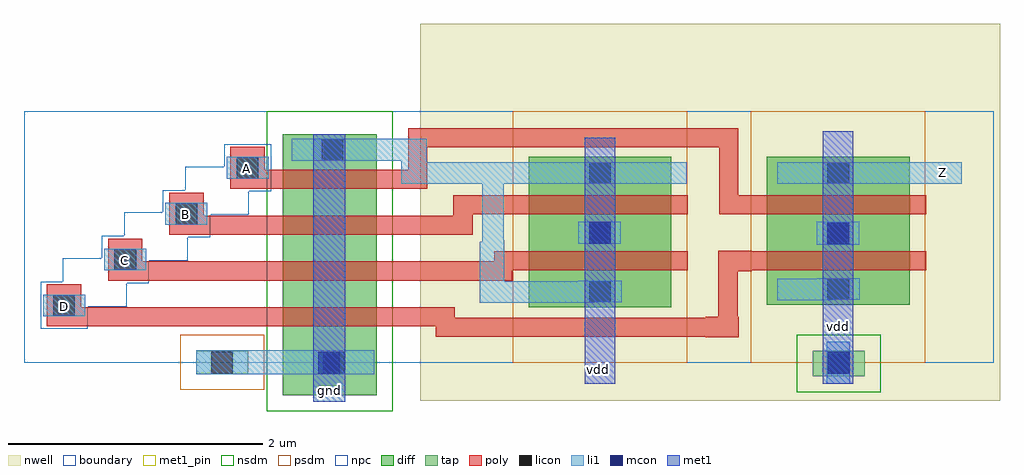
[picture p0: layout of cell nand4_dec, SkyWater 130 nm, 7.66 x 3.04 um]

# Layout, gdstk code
import gdstk
lib = gdstk.Library(unit=1e-6, precision=1e-09)
def R(c, l, rs):  # rectangles x0, y0, x1, y1
    for r in rs: c.add(gdstk.rectangle(r[:2], r[2:], *l))
nwell = (64, 20)
diff = (65, 20)
tap = (65, 44)
poly = (66, 20)
licon = (66, 44)
li1 = (67, 20)
mcon = (67, 44)
met1_pin = (68, 16)
met1 = (68, 20)
nsdm = (93, 44)
psdm = (94, 20)
npc = (95, 20)
boundary = (235, 4)

nand4_dec = lib.new_cell('nand4_dec')
R(nand4_dec, nwell, [(3.11,-0.3,7.66,2.66)])
R(nand4_dec, diff, [(2.03,-0.255,2.77,1.795), (3.96,0.435,5.08,1.615), (5.83,0.455,6.95,1.615)])
R(nand4_dec, tap, [(6.19,-0.105,6.6,0.095), (1.35,-0.085,1.76,0.095)])
R(nand4_dec, poly, [(5.35,0.2,5.61,0.205), (3.23,0.205,5.61,0.285), (0.18,0.285,5.61,0.355), (0.18,0.355,3.38,0.435), (5.35,0.355,5.61,0.36), (5.45,0.36,5.6,0.72), (0.18,0.435,0.45,0.615), (0.66,0.645,3.83,0.725), (5.45,0.72,5.71,0.725), (0.66,0.725,5.21,0.795), (5.45,0.725,7.08,0.875), (0.66,0.795,0.93,0.975), (3.69,0.795,5.21,0.875), (5.45,0.875,5.71,0.88), (1.14,1.005,3.52,1.155), (1.14,1.155,1.41,1.335), (3.37,1.155,3.52,1.165), (3.37,1.165,5.21,1.315), (5.46,1.165,7.08,1.17), (5.455,1.17,7.08,1.315), (5.455,1.315,5.605,1.69), (1.62,1.365,3.165,1.515), (1.62,1.515,1.89,1.695), (3.015,1.515,3.165,1.69), (3.015,1.69,5.605,1.84)])
R(nand4_dec, licon, [(1.47,-0.085,1.64,0.085), (2.345,-0.085,2.515,0.085), (6.31,-0.085,6.48,0.085), (0.23,0.365,0.4,0.535), (4.435,0.475,4.605,0.645), (6.305,0.495,6.475,0.665), (0.71,0.725,0.88,0.895), (6.305,0.93,6.475,1.1), (4.435,0.935,4.605,1.105), (1.19,1.085,1.36,1.255), (4.435,1.405,4.605,1.575), (6.305,1.405,6.475,1.575), (1.67,1.445,1.84,1.615), (2.335,1.585,2.505,1.755)])
R(nand4_dec, li1, [(6.3,-0.165,6.48,0.165), (1.35,-0.09,2.75,0.1), (0.15,0.365,0.48,0.535), (3.575,0.47,4.475,0.475), (3.575,0.475,4.69,0.64), (5.91,0.49,6.345,0.495), (5.91,0.495,6.56,0.66), (3.575,0.64,3.77,0.95), (4.35,0.64,4.69,0.645), (6.22,0.66,6.56,0.665), (0.63,0.725,0.96,0.895), (6.22,0.925,6.555,1.105), (4.35,0.935,4.685,1.105), (3.595,0.95,3.77,0.96), (3.595,0.96,3.765,1.405), (1.11,1.085,1.44,1.255), (2.96,1.405,5.2,1.575), (5.91,1.405,7.36,1.575), (1.59,1.445,1.92,1.615), (2.96,1.575,3.16,1.585), (2.1,1.585,3.16,1.76)])
R(nand4_dec, mcon, [(2.31,-0.085,2.48,0.085), (6.31,-0.085,6.48,0.085), (6.305,0.93,6.475,1.1), (4.435,0.935,4.605,1.105)])
R(nand4_dec, met1_pin, [(2.31,-0.255,2.49,-0.175)])
R(nand4_dec, met1, [(2.27,-0.305,2.52,1.795), (4.4,-0.165,4.64,1.765), (6.27,-0.165,6.51,1.815)])
R(nand4_dec, nsdm, [(1.905,-0.38,2.895,1.975), (6.065,-0.23,6.725,0.22)])
R(nand4_dec, psdm, [(1.225,-0.21,1.885,0.22), (3.835,0,5.205,1.975), (5.705,0,7.075,1.975)])
R(nand4_dec, npc, [(0.13,0.265,0.5,0.44), (0.13,0.44,0.805,0.625), (0.13,0.625,0.98,0.635), (0.305,0.635,0.98,0.8), (0.305,0.8,1.285,0.82), (0.61,0.82,1.285,0.985), (0.61,0.985,1.46,0.995), (0.785,0.995,1.46,1.16), (0.785,1.16,1.765,1.18), (1.09,1.18,1.765,1.345), (1.09,1.345,1.94,1.355), (1.265,1.355,1.94,1.54), (1.57,1.54,1.94,1.715)])
R(nand4_dec, boundary, [(0,0,7.61,1.975)])
nand4_dec.add(gdstk.Label('A', (1.75,1.525), layer=67, texttype=20))
nand4_dec.add(gdstk.Label('B', (1.27,1.165), layer=67, texttype=20))
nand4_dec.add(gdstk.Label('C', (0.79,0.805), layer=67, texttype=20))
nand4_dec.add(gdstk.Label('vdd', (4.51,-0.055), layer=68, texttype=16))
nand4_dec.add(gdstk.Label('gnd', (2.4,-0.215), layer=68, texttype=16))
nand4_dec.add(gdstk.Label('D', (0.32,0.445), layer=67, texttype=20))
nand4_dec.add(gdstk.Label('vdd', (6.39,0.285), layer=68, texttype=16))
nand4_dec.add(gdstk.Label('Z', (7.21,1.49), layer=67, texttype=20))

lib.write_gds('nand4_dec.gds')
